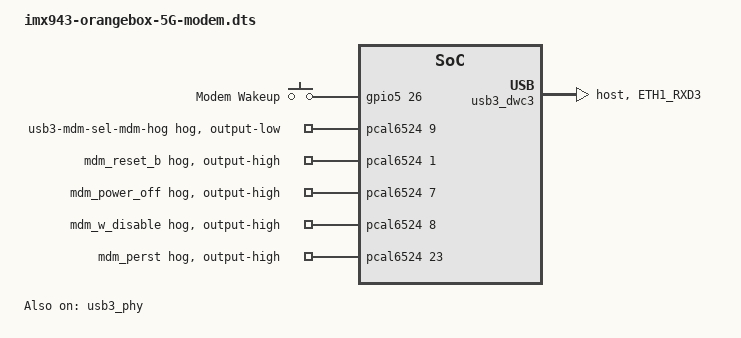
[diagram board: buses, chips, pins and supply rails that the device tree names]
// SPDX-License-Identifier: (GPL-2.0+ OR MIT)
/*
 * Copyright 2025 NXP
 */

#include <dt-bindings/phy/phy-imx8-pcie.h>
#include "imx943-orangebox.dts"

/ {
	mdm_wake: mdm-wake {
		compatible = "gpio-keys";
		mdm_wowwan {
			label = "Modem Wakeup";
			gpios = <&gpio5 26 GPIO_ACTIVE_HIGH>;
			linux,code = <KEY_WAKEUP>;
			wakeup-source;
			debounce-interval = <0>;
			interrupt-parent = <&gpio5>;
			interrupts = <26 IRQ_TYPE_EDGE_FALLING>;
		};
	};
};

&ptn5150 {
	status = "disabled";
	/delete-node/ connector;
};

&usb3_dwc3 {
	/delete-property/ extcon;
	dr_mode = "host";
	pinctrl-names = "default";
	pinctrl-0 = <&mdm_wowwan>;
};

&usb3_phy {
	orientation-switch;
	status = "okay";
	/delete-node/ port;
};

&pcal6524 {
	usb3-mdm-sel-usb-hog {
		status = "disabled";
	};

	usb3-mdm-sel-mdm-hog {
		gpio-hog;
		gpios = <9 GPIO_ACTIVE_HIGH>;
		output-low;
	};

	mdm_reset_b {
		gpio-hog;
		gpios = <1 GPIO_ACTIVE_HIGH>;
		output-high;
	};

	mdm_power_off{
		gpio-hog;
		gpios = <7 GPIO_ACTIVE_HIGH>;
		output-high;
	};

	mdm_w_disable{
		gpio-hog;
		gpios = <8 GPIO_ACTIVE_HIGH>;
		output-high;
	};

	mdm_perst{
		gpio-hog;
		gpios = <23 GPIO_ACTIVE_HIGH>;
		output-high;
	};
};

&netc_switch {
	status = "disabled";
};

&scmi_iomuxc {
	mdm_wowwan: wwan {
		fsl,pins = <IMX94_PAD_ETH1_RXD3__GPIO5_IO26		0x31e>;
	};
};
